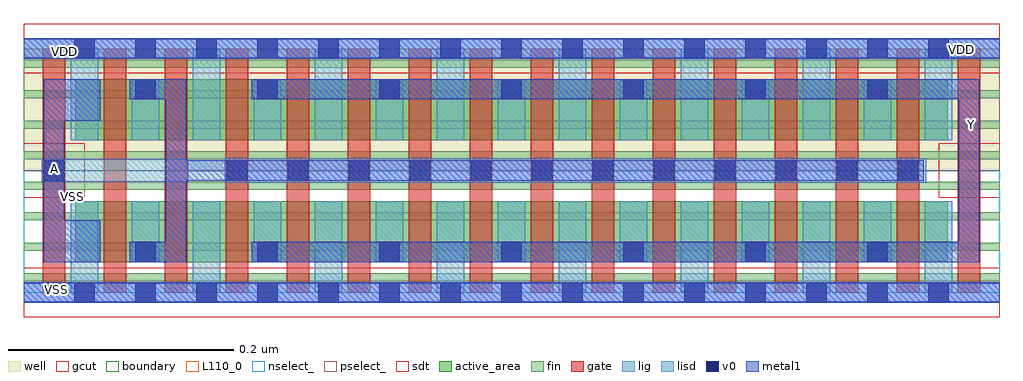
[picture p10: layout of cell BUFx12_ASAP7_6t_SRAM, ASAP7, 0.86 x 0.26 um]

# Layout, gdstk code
import gdstk
lib = gdstk.Library(unit=1e-6, precision=2.5e-10)
def R(c, l, rs):  # rectangles x0, y0, x1, y1
    for r in rs: c.add(gdstk.rectangle(r[:2], r[2:], *l))
def A(c, l, x, y, w, h, nx, ny, dx, dy):  # array of equal rectangles
    R(c, l, [(x+i*dx, y+j*dy, x+i*dx+w, y+j*dy+h) for i in range(nx) for j in range(ny)])
def P(c, l, *ps):  # polygons
    for p in ps: c.add(gdstk.Polygon(p, *l))
well = (1, 0)
fin = (2, 0)
gate = (7, 0)
gcut = (10, 0)
active_area = (11, 0)
nselect_ = (12, 0)
pselect_ = (13, 0)
lig = (16, 0)
lisd = (17, 0)
v0 = (18, 0)
metal1 = (19, 0)
sdt = (88, 0)
boundary = (100, 0)
L110_0 = (110, 0)

bufx12_asap7_6t_sram = lib.new_cell('BUFx12_ASAP7_6t_SRAM')
R(bufx12_asap7_6t_sram, well, [(0,0.108,0.864,0.216)])
A(bufx12_asap7_6t_sram, fin, 0, 0.01, 0.864, 0.007, 1, 7, 0, 0.027)
R(bufx12_asap7_6t_sram, fin, [(0,0.172,0.864,0.179), (0,0.199,0.864,0.206), (0,0.199,0.864,0.206)])
A(bufx12_asap7_6t_sram, gate, 0.017, 0, 0.02, 0.216, 16, 1, 0.054, 0)
R(bufx12_asap7_6t_sram, gcut, [(0,-0.022,0.864,0.022), (0,0.084,0.054,0.132), (0.81,0.084,0.864,0.132), (0,0.194,0.864,0.238)])
R(bufx12_asap7_6t_sram, active_area, [(0.046,0.027,0.818,0.081), (0.046,0.135,0.818,0.189)])
R(bufx12_asap7_6t_sram, nselect_, [(0,0,0.864,0.108)])
R(bufx12_asap7_6t_sram, pselect_, [(0,0.108,0.864,0.216)])
R(bufx12_asap7_6t_sram, lig, [(0,-0.008,0.864,0.008), (0.178,0.097,0.799,0.119), (0.016,0.098,0.146,0.118), (0,0.208,0.864,0.224)])
A(bufx12_asap7_6t_sram, lisd, 0.042, 0, 0.024, 0.081, 8, 2, 0.108, 0.135)
A(bufx12_asap7_6t_sram, lisd, 0.096, 0.027, 0.024, 0.054, 7, 2, 0.108, 0.108)
A(bufx12_asap7_6t_sram, v0, 0.045, -0.009, 0.018, 0.018, 15, 2, 0.054, 0.216)
A(bufx12_asap7_6t_sram, v0, 0.099, 0.027, 0.018, 0.018, 7, 2, 0.108, 0.144)
A(bufx12_asap7_6t_sram, v0, 0.18, 0.099, 0.018, 0.018, 12, 1, 0.054, 0)
R(bufx12_asap7_6t_sram, v0, [(0.018,0.099,0.036,0.117)])
R(bufx12_asap7_6t_sram, metal1, [(0,-0.009,0.864,0.009), (0,0.207,0.864,0.225)])
P(bufx12_asap7_6t_sram, metal1, [(0.036,0.152),(0.068,0.152),(0.068,0.189),(0.018,0.189),(0.018,0.027),(0.068,0.027),(0.068,0.064),(0.036,0.064)],
  [(0.797,0.117),(0.144,0.117),(0.144,0.189),(0.094,0.189),(0.094,0.171),(0.126,0.171),(0.126,0.045),(0.094,0.045),(0.094,0.027),(0.144,0.027),(0.144,0.099),(0.797,0.099)],
  [(0.846,0.189),(0.202,0.189),(0.202,0.171),(0.828,0.171),(0.828,0.045),(0.202,0.045),(0.202,0.027),(0.846,0.027)])
A(bufx12_asap7_6t_sram, sdt, 0.042, 0.027, 0.024, 0.054, 15, 2, 0.054, 0.108)
R(bufx12_asap7_6t_sram, boundary, [(0,0,0.864,0.216)])
R(bufx12_asap7_6t_sram, L110_0, [(0,0,0.864,0.216)])
bufx12_asap7_6t_sram.add(gdstk.Label('Y', (0.839,0.149), layer=19, texttype=251))
bufx12_asap7_6t_sram.add(gdstk.Label('VDD', (0.036,0.213), layer=19, texttype=251))
bufx12_asap7_6t_sram.add(gdstk.Label('A', (0.027,0.11), layer=19, texttype=251))
bufx12_asap7_6t_sram.add(gdstk.Label('VSS', (0.029,0.003), layer=19, texttype=251))
bufx12_asap7_6t_sram.add(gdstk.Label('VSS', (0.043,0.085), layer=3, texttype=251))
bufx12_asap7_6t_sram.add(gdstk.Label('VDD', (0.83,0.215), layer=1, texttype=251))

lib.write_gds('BUFx12_ASAP7_6t_SRAM.gds')
